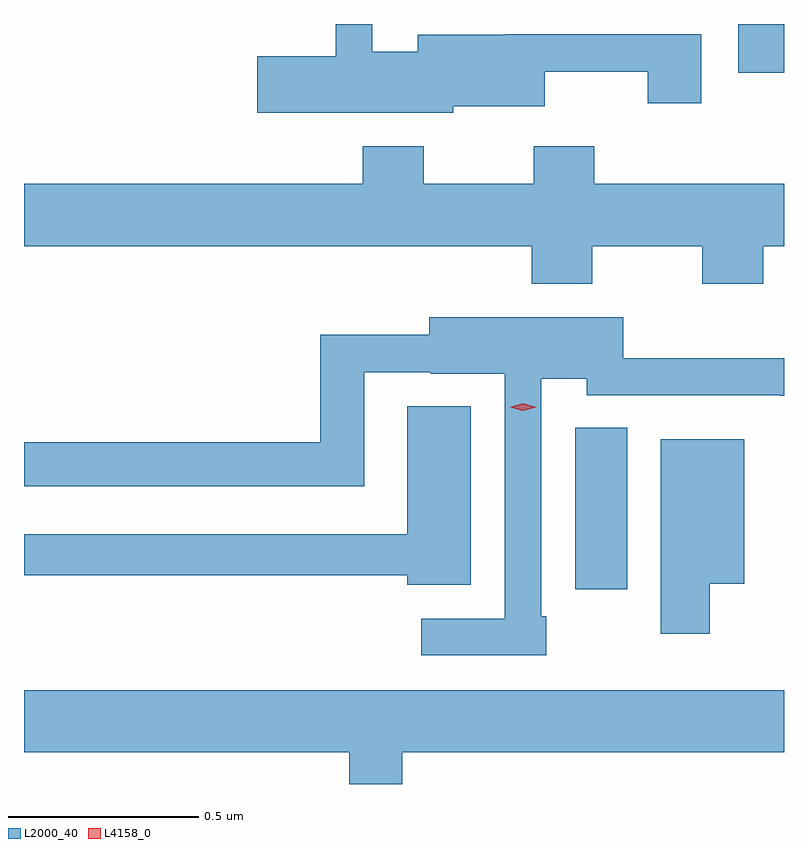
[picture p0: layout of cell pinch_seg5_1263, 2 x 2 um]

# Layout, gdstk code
import gdstk
lib = gdstk.Library(unit=1e-6, precision=1e-09)
def R(c, l, rs):  # rectangles x0, y0, x1, y1
    for r in rs: c.add(gdstk.rectangle(r[:2], r[2:], *l))
def P(c, l, *ps):  # polygons
    for p in ps: c.add(gdstk.Polygon(p, *l))
L2000_40 = (2000, 40)
L4158_0 = (4158, 0)

pinch_seg5_1263 = lib.new_cell('pinch_seg5_1263')
R(pinch_seg5_1263, L2000_40, [(461.729,877.17,461.866,877.595), (462.158,878.529,462.279,878.657)])
P(pinch_seg5_1263, L2000_40, [(461.409,878.441),(461.65,878.441),(461.65,878.531),(461.921,878.531),(461.921,878.448),(462.061,878.448),(462.061,878.63),(461.546,878.63),(461.546,878.629),(461.315,878.629),(461.315,878.584),(461.196,878.584),(461.196,878.657),(461.1,878.657),(461.1,878.572),(460.893,878.572),(460.893,878.423),(461.409,878.423)],
  [(461.775,878.072),(462.064,878.072),(462.064,877.973),(462.224,877.973),(462.224,878.072),(462.279,878.072),(462.279,878.236),(461.78,878.236),(461.78,878.335),(461.62,878.335),(461.62,878.236),(461.331,878.236),(461.331,878.335),(461.171,878.335),(461.171,878.236),(460.279,878.236),(460.279,878.072),(461.615,878.072),(461.615,877.973),(461.775,877.973)],
  [(461.653,877.099),(461.64,877.099),(461.64,877.724),(461.76,877.724),(461.76,877.68),(462.271,877.68),(462.271,877.679),(462.279,877.679),(462.279,877.778),(461.856,877.778),(461.856,877.885),(461.345,877.885),(461.345,877.839),(461.059,877.839),(461.059,877.556),(460.279,877.556),(460.279,877.44),(461.175,877.44),(461.175,877.74),(461.349,877.74),(461.349,877.736),(461.544,877.736),(461.544,877.092),(461.325,877.092),(461.325,876.996),(461.653,876.996)],
  [(461.455,877.651),(461.288,877.651),(461.288,877.314),(460.279,877.314),(460.279,877.206),(461.288,877.206),(461.288,877.181),(461.455,877.181)],
  [(462.084,877.184),(462.175,877.184),(462.175,877.564),(461.954,877.564),(461.954,877.053),(462.084,877.053)],
  [(461.275,876.74),(462.279,876.74),(462.279,876.904),(460.279,876.904),(460.279,876.74),(461.135,876.74),(461.135,876.657),(461.275,876.657)])
P(pinch_seg5_1263, L4158_0, [(461.592,877.639),(461.558,877.649),(461.557,877.649),(461.558,877.649),(461.592,877.659),(461.627,877.649),(461.627,877.649),(461.627,877.649)])

lib.write_gds('pinch_seg5_1263.gds')
